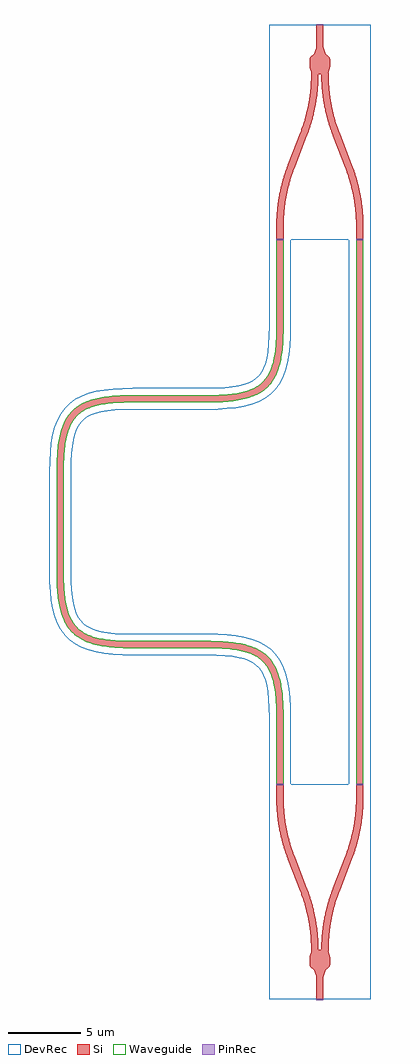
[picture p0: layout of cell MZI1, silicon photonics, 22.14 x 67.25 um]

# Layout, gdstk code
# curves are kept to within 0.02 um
from math import pi, radians
import gdstk
lib = gdstk.Library(unit=1e-6, precision=1e-09)
def R(c, l, rs):  # rectangles x0, y0, x1, y1
    for r in rs: c.add(gdstk.rectangle(r[:2], r[2:], *l))
def P(c, l, *ps):  # polygons
    for p in ps: c.add(gdstk.Polygon(p, *l))
Si = (1, 0)
PinRec = (1, 10)
Waveguide = (1, 99)
DevRec = (68, 0)

ebeam_y_1550 = lib.new_cell('ebeam_y_1550')
R(ebeam_y_1550, Si, [(6.5,-3,7.4,-2.5), (-7.4,-0.25,-6,0.25), (6.5,2.5,7.4,3)])
P(ebeam_y_1550, Si, [(6.458,-3),(6.237,-2.997),(6.237,-2.497),(6.5,-2.5),(6.5,-3)],
  [(2.265,-2.21),(0.055,-1.356),(0.235,-0.89),(2.445,-1.744)],
  [(5.033,-2.908),(4.288,-2.79),(3.59,-2.634),(2.922,-2.442),(2.265,-2.21),(2.445,-1.744),(3.075,-1.966),(3.731,-2.154),(5.033,-2.404)],
  [(-0.762,0.555),(-0.762,1.076),(0.055,1.356),(0.235,0.89)],
  [(-5.122,-0.662),(-5.442,-0.374),(-5.808,-0.255),(-6,-0.25),(-6,0.25),(-5.817,0.253),(-5.442,0.374),(-5.122,0.662)],
  [(-4.957,-0.703),(-5.122,-0.662),(-5.122,0.662),(-4.978,0.702),(-4.538,0.703),(-4.167,0.6),(-4,0.6),(-4,-0.6),(-4.167,-0.6),(-4.509,-0.701)],
  [(0.055,-1.356),(-0.762,-1.076),(-0.762,-0.555),(0.235,-0.89)],
  [(6.237,2.497),(6.237,2.997),(6.5,3),(6.5,2.5)],
  [(-0.762,-1.076),(-1.532,-0.874),(-2.334,-0.724),(-3.178,-0.63),(-4,-0.6),(-4,-0.1),(-3.16,-0.13),(-2.381,-0.212),(-1.565,-0.355),(-0.762,-0.555)],
  [(5.033,2.404),(5.033,2.908),(6.237,2.997),(6.237,2.497)],
  [(6.233,-2.997),(5.033,-2.908),(5.033,-2.404),(6.237,-2.497)],
  [(0.235,0.89),(0.055,1.356),(2.265,2.21),(2.445,1.744)],
  [(2.445,1.744),(2.267,2.211),(2.922,2.442),(3.59,2.634),(4.288,2.79),(5.033,2.908),(5.033,2.404),(3.731,2.154),(3.075,1.966)],
  [(-4,0.1),(-4,0.6),(-3.178,0.63),(-2.334,0.724),(-1.532,0.874),(-0.762,1.076),(-0.762,0.555),(-1.565,0.355),(-2.381,0.212),(-3.16,0.13)])
R(ebeam_y_1550, DevRec, [(-7.4,-3.5,7.4,3.5)])
ebeam_y_1550.add(gdstk.FlexPath([(7.35,-2.75),(7.45,-2.75)], 0.5, ends="flush", simple_path=True, layer=1, datatype=10))  # PinRec
ebeam_y_1550.add(gdstk.FlexPath([(7.35,2.75),(7.45,2.75)], 0.5, ends="flush", simple_path=True, layer=1, datatype=10))  # PinRec
ebeam_y_1550.add(gdstk.FlexPath([(-7.35,0),(-7.45,0)], 0.5, ends="flush", simple_path=True, layer=1, datatype=10))  # PinRec
ebeam_y_1550.add(gdstk.Label('opt1', (-7.4,0), layer=1, texttype=10))
ebeam_y_1550.add(gdstk.Label('opt3', (7.4,-2.75), layer=1, texttype=10))
ebeam_y_1550.add(gdstk.Label('opt2', (7.4,2.75), layer=1, texttype=10))
ebeam_y_1550.add(gdstk.Label('Lumerical_INTERCONNECT_library=Design kits/ebeam', (-6.86,-2.19), layer=68, texttype=0))
ebeam_y_1550.add(gdstk.Label('Component=ebeam_y_1550', (-6,1.5), layer=68, texttype=0))
ebeam_y_1550.add(gdstk.Label('Ref: Y Zhang, Opt. Express, 21/1, 2013', (-7.5,-1), layer=10, texttype=0))

waveguide_12 = lib.new_cell('Waveguide$12')
P(waveguide_12, Si, [(-253,-37.3),(-253.005,-32.232),(-253.091,-30.931),(-253.229,-30.18),(-253.437,-29.566),(-253.598,-29.259),(-253.785,-28.992),(-254.168,-28.629),(-254.657,-28.346),(-255.138,-28.174),(-255.861,-28.022),(-256.544,-27.948),(-257.533,-27.911),(-263.328,-27.905),(-264.322,-27.854),(-265.021,-27.764),(-265.784,-27.582),(-266.434,-27.307),(-266.973,-26.926),(-267.4,-26.431),(-267.66,-25.957),(-267.856,-25.41),(-267.995,-24.79),(-268.1,-23.902),(-268.14,-22.66),(-268.138,-15.501),(-268.112,-14.674),(-268.021,-13.76),(-267.895,-13.12),(-267.659,-12.426),(-267.399,-11.952),(-267.067,-11.547),(-266.661,-11.214),(-266.057,-10.899),(-265.493,-10.718),(-265.02,-10.619),(-264.503,-10.547),(-263.741,-10.491),(-257.533,-10.472),(-256.19,-10.402),(-255.408,-10.278),(-254.885,-10.129),(-254.349,-9.876),(-253.927,-9.547),(-253.656,-9.217),(-253.436,-8.817),(-253.228,-8.203),(-253.112,-7.613),(-253.038,-6.93),(-253.001,-5.941),(-253,0.25),(-252.5,0.25),(-252.501,-5.945),(-252.573,-7.337),(-252.707,-8.173),(-252.925,-8.891),(-253.24,-9.495),(-253.573,-9.901),(-253.978,-10.233),(-254.582,-10.548),(-255.146,-10.729),(-255.959,-10.879),(-257.312,-10.969),(-263.719,-10.991),(-264.934,-11.111),(-265.369,-11.202),(-265.871,-11.363),(-266.29,-11.571),(-266.636,-11.827),(-266.983,-12.23),(-267.203,-12.63),(-267.411,-13.244),(-267.527,-13.834),(-267.601,-14.517),(-267.638,-15.507),(-267.64,-22.66),(-267.602,-23.866),(-267.528,-24.549),(-267.412,-25.139),(-267.204,-25.753),(-266.984,-26.153),(-266.637,-26.556),(-266.194,-26.869),(-265.632,-27.106),(-264.935,-27.272),(-264.097,-27.371),(-263.318,-27.405),(-257.529,-27.411),(-256.319,-27.465),(-255.458,-27.585),(-254.857,-27.737),(-254.207,-28.012),(-253.767,-28.308),(-253.318,-28.779),(-253.103,-29.116),(-252.926,-29.492),(-252.708,-30.21),(-252.556,-31.228),(-252.502,-32.437),(-252.5,-37.3)])
P(waveguide_12, Waveguide, [(-253,-37.3),(-253.005,-32.232),(-253.091,-30.931),(-253.229,-30.18),(-253.437,-29.566),(-253.598,-29.259),(-253.785,-28.992),(-254.168,-28.629),(-254.657,-28.346),(-255.138,-28.174),(-255.861,-28.022),(-256.544,-27.948),(-257.533,-27.911),(-263.328,-27.905),(-264.322,-27.854),(-265.021,-27.764),(-265.784,-27.582),(-266.434,-27.307),(-266.973,-26.926),(-267.4,-26.431),(-267.66,-25.957),(-267.856,-25.41),(-267.995,-24.79),(-268.1,-23.902),(-268.14,-22.66),(-268.138,-15.501),(-268.112,-14.674),(-268.021,-13.76),(-267.895,-13.12),(-267.659,-12.426),(-267.399,-11.952),(-267.067,-11.547),(-266.661,-11.214),(-266.057,-10.899),(-265.493,-10.718),(-265.02,-10.619),(-264.503,-10.547),(-263.741,-10.491),(-257.533,-10.472),(-256.19,-10.402),(-255.408,-10.278),(-254.885,-10.129),(-254.349,-9.876),(-253.927,-9.547),(-253.656,-9.217),(-253.436,-8.817),(-253.228,-8.203),(-253.112,-7.613),(-253.038,-6.93),(-253.001,-5.941),(-253,0.25),(-252.5,0.25),(-252.501,-5.945),(-252.573,-7.337),(-252.707,-8.173),(-252.925,-8.891),(-253.24,-9.495),(-253.573,-9.901),(-253.978,-10.233),(-254.582,-10.548),(-255.146,-10.729),(-255.959,-10.879),(-257.312,-10.969),(-263.719,-10.991),(-264.934,-11.111),(-265.369,-11.202),(-265.871,-11.363),(-266.29,-11.571),(-266.636,-11.827),(-266.983,-12.23),(-267.203,-12.63),(-267.411,-13.244),(-267.527,-13.834),(-267.601,-14.517),(-267.638,-15.507),(-267.64,-22.66),(-267.602,-23.866),(-267.528,-24.549),(-267.412,-25.139),(-267.204,-25.753),(-266.984,-26.153),(-266.637,-26.556),(-266.194,-26.869),(-265.632,-27.106),(-264.935,-27.272),(-264.097,-27.371),(-263.318,-27.405),(-257.529,-27.411),(-256.319,-27.465),(-255.458,-27.585),(-254.857,-27.737),(-254.207,-28.012),(-253.767,-28.308),(-253.318,-28.779),(-253.103,-29.116),(-252.926,-29.492),(-252.708,-30.21),(-252.556,-31.228),(-252.502,-32.437),(-252.5,-37.3)])
P(waveguide_12, DevRec, [(-253.5,-37.3),(-253.5,-32.66),(-253.543,-31.429),(-253.598,-30.915),(-253.776,-30.084),(-253.896,-29.764),(-254.036,-29.501),(-254.193,-29.284),(-254.375,-29.102),(-254.855,-28.805),(-255.175,-28.685),(-256.006,-28.507),(-256.52,-28.452),(-257.751,-28.41),(-263.592,-28.399),(-264.843,-28.298),(-265.4,-28.2),(-265.918,-28.064),(-266.4,-27.882),(-266.841,-27.648),(-267.24,-27.357),(-267.588,-27.009),(-267.879,-26.61),(-268.113,-26.169),(-268.295,-25.687),(-268.431,-25.169),(-268.594,-24.01),(-268.64,-22.661),(-268.629,-15.022),(-268.528,-13.771),(-268.43,-13.214),(-268.294,-12.696),(-268.112,-12.214),(-267.878,-11.773),(-267.587,-11.374),(-267.239,-11.026),(-266.84,-10.735),(-266.399,-10.501),(-265.917,-10.319),(-265.399,-10.183),(-264.24,-10.02),(-262.891,-9.974),(-257.75,-9.974),(-256.519,-9.931),(-256.005,-9.876),(-255.174,-9.698),(-254.854,-9.578),(-254.374,-9.281),(-254.192,-9.099),(-254.035,-8.882),(-253.895,-8.619),(-253.775,-8.299),(-253.597,-7.468),(-253.542,-6.954),(-253.5,-5.723),(-253.5,0.25),(-252,0.25),(-252,-5.725),(-252.046,-7.074),(-252.209,-8.233),(-252.345,-8.751),(-252.527,-9.233),(-252.761,-9.674),(-253.052,-10.073),(-253.4,-10.421),(-253.799,-10.712),(-254.24,-10.946),(-254.722,-11.128),(-255.24,-11.264),(-255.797,-11.362),(-256.399,-11.427),(-257.737,-11.474),(-263.539,-11.484),(-264.634,-11.571),(-265.465,-11.749),(-265.785,-11.869),(-266.265,-12.166),(-266.447,-12.348),(-266.744,-12.828),(-266.964,-13.53),(-267.042,-13.979),(-267.129,-15.074),(-267.13,-23.309),(-267.098,-23.89),(-266.965,-24.853),(-266.865,-25.235),(-266.745,-25.555),(-266.605,-25.818),(-266.448,-26.035),(-266.266,-26.217),(-265.786,-26.514),(-265.084,-26.734),(-264.635,-26.812),(-263.54,-26.899),(-257.749,-26.91),(-256.4,-26.956),(-255.241,-27.119),(-254.723,-27.255),(-254.241,-27.437),(-253.8,-27.671),(-253.401,-27.962),(-253.053,-28.31),(-252.762,-28.709),(-252.528,-29.15),(-252.346,-29.632),(-252.21,-30.15),(-252.112,-30.707),(-252.011,-31.958),(-252,-37.3)])
waveguide_12.add(gdstk.FlexPath([(-252.75,-37.29),(-252.75,-37.31)], 0.5, ends="flush", simple_path=True, layer=1, datatype=10))  # PinRec
waveguide_12.add(gdstk.FlexPath([(-252.75,0.24),(-252.75,0.26)], 0.5, ends="flush", simple_path=True, layer=1, datatype=10))  # PinRec
waveguide_12.add(gdstk.Label('opt2', (-252.75,-37.3), layer=1, texttype=10))
waveguide_12.add(gdstk.Label('opt1', (-252.75,0.25), layer=1, texttype=10))
waveguide_12.add(gdstk.Label('waveguide_type=Strip TE 1550 nm, w=500 nm', (-252.95,0.25), layer=68, texttype=0))
waveguide_12.add(gdstk.Label('Spice_param:wg_length=0.000061623 wg_width=5e-07 points="[[-252.75,0.25],[-252.75,-10.724],[-267.89,-10.724],[-267.89,-27.66],[-252.75,-27.66],[-252.75,-37.3]]" radius=5e-06', (-252.75,0.25), layer=68, texttype=0))
waveguide_12.add(gdstk.Label('cellName=Waveguide', (-252.55,0.25), layer=68, texttype=0))
waveguide_12.add(gdstk.Label('Length=61.623 (microns)', (-253.35,0.25), layer=68, texttype=0))
waveguide_12.add(gdstk.Label('Component=ebeam_wg_integral_1550', (-252.65,0.25), layer=68, texttype=0))
waveguide_12.add(gdstk.Label('Lumerical_INTERCONNECT_library=Design kits/EBeam', (-252.85,0.25), layer=68, texttype=0))

waveguide_9 = lib.new_cell('Waveguide$9')
R(waveguide_9, Si, [(-247.5,-37.3,-247,0.25)])
R(waveguide_9, Waveguide, [(-247.5,-37.3,-247,0.25)])
R(waveguide_9, DevRec, [(-248,-37.3,-246.5,0.25)])
waveguide_9.add(gdstk.FlexPath([(-247.25,0.24),(-247.25,0.26)], 0.5, ends="flush", simple_path=True, layer=1, datatype=10))  # PinRec
waveguide_9.add(gdstk.FlexPath([(-247.25,-37.29),(-247.25,-37.31)], 0.5, ends="flush", simple_path=True, layer=1, datatype=10))  # PinRec
waveguide_9.add(gdstk.Label('opt2', (-247.25,0.25), layer=1, texttype=10))
waveguide_9.add(gdstk.Label('opt1', (-247.25,-37.3), layer=1, texttype=10))
waveguide_9.add(gdstk.Label('Length=37.550 (microns)', (-247.85,-37.3), layer=68, texttype=0))
waveguide_9.add(gdstk.Label('waveguide_type=Strip TE 1550 nm, w=500 nm', (-247.45,-37.3), layer=68, texttype=0))
waveguide_9.add(gdstk.Label('Spice_param:wg_length=0.000037550 wg_width=5e-07 points="[[-247.25,-37.3],[-247.25,0.25]]" radius=5e-06', (-247.25,-37.3), layer=68, texttype=0))
waveguide_9.add(gdstk.Label('cellName=Waveguide', (-247.05,-37.3), layer=68, texttype=0))
waveguide_9.add(gdstk.Label('Component=ebeam_wg_integral_1550', (-247.15,-37.3), layer=68, texttype=0))
waveguide_9.add(gdstk.Label('Lumerical_INTERCONNECT_library=Design kits/EBeam', (-247.35,-37.3), layer=68, texttype=0))

mzi1 = lib.new_cell('MZI1')
mzi1.add(gdstk.Reference(ebeam_y_1550, (18.64,59.85), rotation=3*pi/2))
mzi1.add(gdstk.Reference(waveguide_12, (268.64,52.2)))
mzi1.add(gdstk.Reference(waveguide_9, (268.64,52.2)))
mzi1.add(gdstk.Reference(ebeam_y_1550, (18.64,7.5), rotation=pi/2))

lib.write_gds('MZI1.gds')
